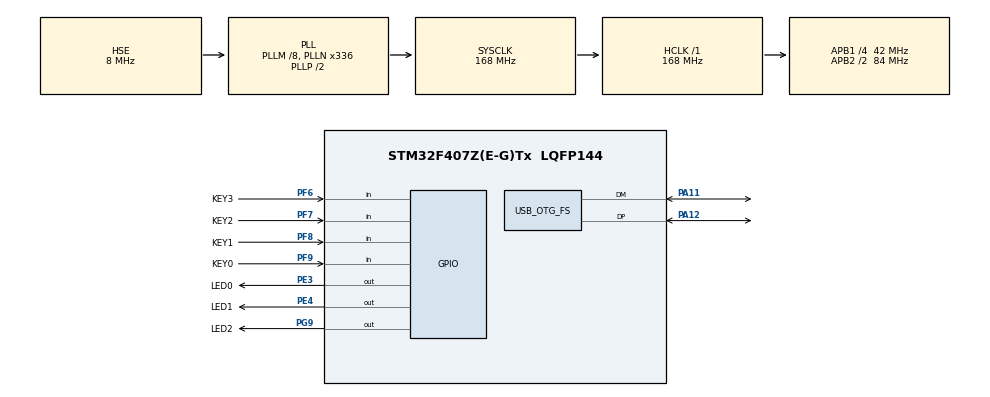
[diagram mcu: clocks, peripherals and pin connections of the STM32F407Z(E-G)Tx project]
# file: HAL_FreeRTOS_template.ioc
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Mcu.Family=STM32F4
Mcu.Name=STM32F407Z(E-G)Tx
Mcu.Package=LQFP144
NVIC.PriorityGroup=NVIC_PRIORITYGROUP_4
PA11.Mode=Device_Only
PA11.Signal=USB_OTG_FS_DM
PA12.Mode=Device_Only
PA12.Signal=USB_OTG_FS_DP
PA13.Mode=Serial_Wire
PA13.Signal=SYS_JTMS-SWDIO
PA14.Mode=Serial_Wire
PA14.Signal=SYS_JTCK-SWCLK
PE3.GPIO_Label=LED0
PE3.GPIO_PuPd=GPIO_PULLUP
PE3.GPIO_Speed=GPIO_SPEED_FREQ_VERY_HIGH
PE3.PinState=GPIO_PIN_SET
PE3.Signal=GPIO_Output
PE4.GPIO_Label=LED1
PE4.GPIO_PuPd=GPIO_PULLUP
PE4.GPIO_Speed=GPIO_SPEED_FREQ_VERY_HIGH
PE4.PinState=GPIO_PIN_SET
PE4.Signal=GPIO_Output
PF6.GPIO_Label=KEY3
PF6.GPIO_PuPd=GPIO_PULLUP
PF6.Signal=GPIO_Input
PF7.GPIO_Label=KEY2
PF7.GPIO_PuPd=GPIO_PULLUP
PF7.Signal=GPIO_Input
PF8.GPIO_Label=KEY1
PF8.GPIO_PuPd=GPIO_PULLUP
PF8.Signal=GPIO_Input
PF9.GPIO_Label=KEY0
PF9.GPIO_PuPd=GPIO_PULLUP
PF9.Signal=GPIO_Input
PG9.GPIO_Label=LED2
PG9.GPIO_PuPd=GPIO_PULLUP
PG9.GPIO_Speed=GPIO_SPEED_FREQ_VERY_HIGH
PG9.PinState=GPIO_PIN_SET
PG9.Signal=GPIO_Output
PH0-OSC_IN.Mode=HSE-External-Oscillator
PH0-OSC_IN.Signal=RCC_OSC_IN
PH1-OSC_OUT.Mode=HSE-External-Oscillator
PH1-OSC_OUT.Signal=RCC_OSC_OUT
ProjectManager.HeapSize=0x200
ProjectManager.StackSize=0x400
ProjectManager.TargetToolchain=MDK-ARM V5.32
RCC.48MHZClocksFreq_Value=48000000
RCC.AHBFreq_Value=168000000
RCC.APB1CLKDivider=RCC_HCLK_DIV4
RCC.APB1Freq_Value=42000000
RCC.APB1TimFreq_Value=84000000
RCC.APB2CLKDivider=RCC_HCLK_DIV2
RCC.APB2Freq_Value=84000000
RCC.APB2TimFreq_Value=168000000
RCC.CortexFreq_Value=168000000
RCC.HCLKFreq_Value=168000000
RCC.HSE_VALUE=8000000
RCC.HSI_VALUE=16000000
RCC.LSE_VALUE=32768
RCC.PLLM=8
RCC.PLLN=336
RCC.PLLQ=7
RCC.SYSCLKFreq_VALUE=168000000
RCC.SYSCLKSource=RCC_SYSCLKSOURCE_PLLCLK
RCC.VCOOutputFreq_Value=336000000
USB_OTG_FS.VirtualMode=Device_Only
board=custom

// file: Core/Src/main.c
/* USER CODE BEGIN Header */
/**
  ******************************************************************************
  * @file           : main.c
  * @brief          : Main program body
  ******************************************************************************
  * @attention
  *
  * Copyright (c) 2026 STMicroelectronics.
  * All rights reserved.
  *
  * This software is licensed under terms that can be found in the LICENSE file
  * in the root directory of this software component.
  * If no LICENSE file comes with this software, it is provided AS-IS.
  *
  ******************************************************************************
  */
/* USER CODE END Header */
#include "main.h"
#include "usb_otg.h"
#include "gpio.h"

/* USER CODE BEGIN Includes */
#include "key.h"
#include "led.h"
/* USER CODE END Includes */

/* USER CODE BEGIN PV */
TaskHandle_t hScanTask;
TaskHandle_t hLedTask;

uint8_t scan_mode=0;
/* USER CODE END PV */

void SystemClock_Config(void);
/* USER CODE BEGIN PFP */
void DWT_Init(void);
/* USER CODE END PFP */

/* USER CODE BEGIN 0 */
void DWT_Init(void){
  /* 使能调试监控单元 */
  CoreDebug->DEMCR|=CoreDebug_DEMCR_TRCENA_Msk;
  /* 是能循环计数器 */
  DWT->CTRL|=DWT_CTRL_CYCCNTENA_Msk;
  /* 清零计数器 */
  DWT->CYCCNT=0;
}
/* USER CODE END 0 */

int main(void)
{

  /* MCU Configuration--------------------------------------------------------*/

  /* Reset of all peripherals, Initializes the Flash interface and the Systick. */
  HAL_Init();

  /* USER CODE BEGIN Init */
  DWT_Init();
  /* USER CODE END Init */

  /* Configure the system clock */
  SystemClock_Config();

  /* USER CODE BEGIN SysInit */
  DWT->CYCCNT=0;
  /* USER CODE END SysInit */

  /* Initialize all configured peripherals */
  MX_GPIO_Init();
  MX_USB_OTG_FS_PCD_Init();
  /* USER CODE BEGIN 2 */
  if(xTaskCreate(Scan_Task,"key_scan",128,(void*)&scan_mode,3,&hScanTask)!=pdPASS){
    Error_Handler();
  }
  if(xTaskCreate(Led_task,"led",128,NULL,2,&hLedTask)!=pdPASS){
    Error_Handler();
  }
  /* USER CODE END 2 */

  /* Infinite loop */
  /* USER CODE BEGIN WHILE */
  vTaskStartScheduler();
  while (1)
  {
    /* USER CODE END WHILE */

  }
}

void SystemClock_Config(void)
{
  RCC_OscInitTypeDef RCC_OscInitStruct = {0};
  RCC_ClkInitTypeDef RCC_ClkInitStruct = {0};

  /** Configure the main internal regulator output voltage
  */
  __HAL_RCC_PWR_CLK_ENABLE();
  __HAL_PWR_VOLTAGESCALING_CONFIG(PWR_REGULATOR_VOLTAGE_SCALE1);

  /** Initializes the RCC Oscillators according to the specified parameters
  * in the RCC_OscInitTypeDef structure.
  */
  RCC_OscInitStruct.OscillatorType = RCC_OSCILLATORTYPE_HSE;
  RCC_OscInitStruct.HSEState = RCC_HSE_ON;
  RCC_OscInitStruct.PLL.PLLState = RCC_PLL_ON;
  RCC_OscInitStruct.PLL.PLLSource = RCC_PLLSOURCE_HSE;
  RCC_OscInitStruct.PLL.PLLM = 8;
  RCC_OscInitStruct.PLL.PLLN = 336;
  RCC_OscInitStruct.PLL.PLLP = RCC_PLLP_DIV2;
  RCC_OscInitStruct.PLL.PLLQ = 7;
  if (HAL_RCC_OscConfig(&RCC_OscInitStruct) != HAL_OK)
  {
    Error_Handler();
  }

  /** Initializes the CPU, AHB and APB buses clocks
  */
  RCC_ClkInitStruct.ClockType = RCC_CLOCKTYPE_HCLK|RCC_CLOCKTYPE_SYSCLK
                              |RCC_CLOCKTYPE_PCLK1|RCC_CLOCKTYPE_PCLK2;
  RCC_ClkInitStruct.SYSCLKSource = RCC_SYSCLKSOURCE_PLLCLK;
  RCC_ClkInitStruct.AHBCLKDivider = RCC_SYSCLK_DIV1;
  RCC_ClkInitStruct.APB1CLKDivider = RCC_HCLK_DIV4;
  RCC_ClkInitStruct.APB2CLKDivider = RCC_HCLK_DIV2;

  if (HAL_RCC_ClockConfig(&RCC_ClkInitStruct, FLASH_LATENCY_5) != HAL_OK)
  {
    Error_Handler();
  }
}

/* USER CODE BEGIN 4 */
//void vApplicationStackOverflowHook(TaskHandle_t xTask, char *pcTaskName)
//{
//    /* 如果发生栈溢出，程序会卡死在这里 */
//    /* pcTaskName 就是出错的任务名字，比如 "key_scan" */
//
//    taskDISABLE_INTERRUPTS(); /* 关闭中断 */
//
//    /* 在这行打断点，运行后如果停在这里，看 pcTaskName 的值 */
//    for( ;; );
//}

/* 【关键步骤 2】重写 HAL_GetTick 函数 */
/* 使用 DWT 计数器作为时间源，单位：毫秒 (ms) */
/* 即使在中断关闭期间，DWT 也会持续计数，彻底解决 HAL_Delay 死锁问题 */
uint32_t HAL_GetTick(void)
{
    /*
      公式：时间 (ms) = 计数值 / (CPU 频率 Hz / 1000)
      注意：SystemCoreClock 必须在 SystemClock_Config() 之后才是正确的 (168MHz)
      如果在 SystemClock_Config 之前调用，SystemCoreClock 默认为 16MHz (HSI)，
      但这通常只影响极短时间的初始化，问题不大。
    */
    if (SystemCoreClock == 0) {
        // 防止除以零，虽然理论上不会发生
        return DWT->CYCCNT / 168;
    }
    return DWT->CYCCNT / (SystemCoreClock / 1000);
}
/* USER CODE END 4 */

void Error_Handler(void)
{
  __disable_irq();
  while (1)
  {
  }
}
